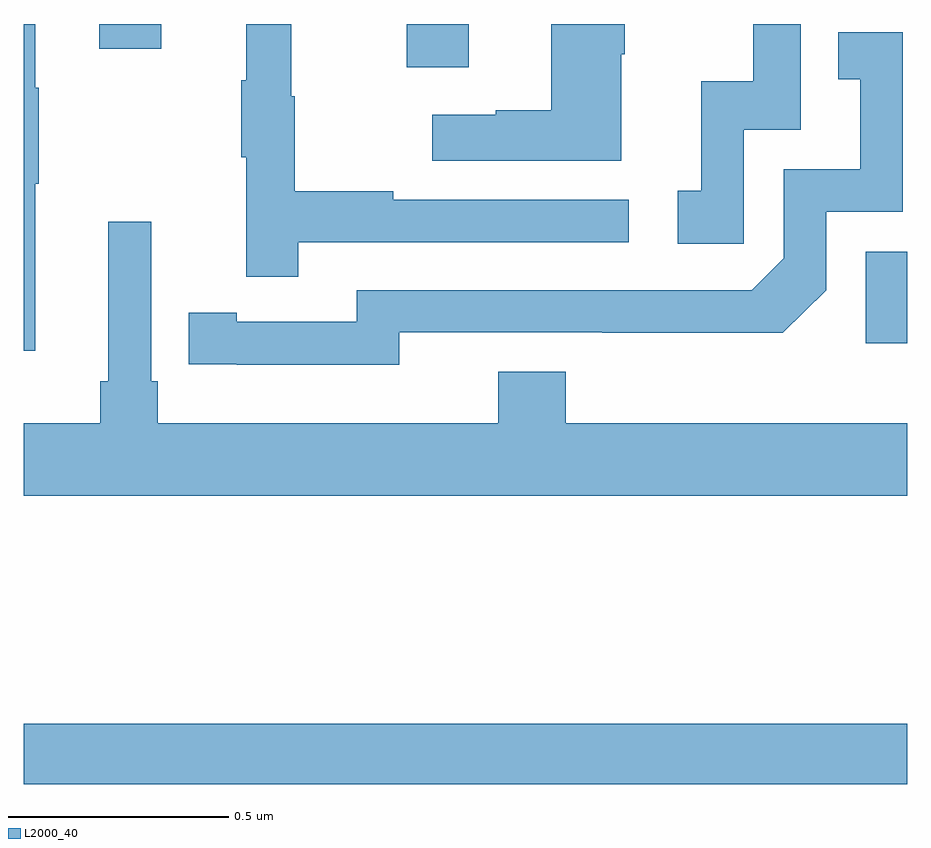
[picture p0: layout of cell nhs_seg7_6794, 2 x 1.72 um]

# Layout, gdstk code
import gdstk
lib = gdstk.Library(unit=1e-6, precision=1e-09)
def R(c, l, rs):  # rectangles x0, y0, x1, y1
    for r in rs: c.add(gdstk.rectangle(r[:2], r[2:], *l))
def P(c, l, *ps):  # polygons
    for p in ps: c.add(gdstk.Polygon(p, *l))
L2000_40 = (2000, 40)

nhs_seg7_6794 = lib.new_cell('nhs_seg7_6794')
R(nhs_seg7_6794, L2000_40, [(203,1017.28,205,1017.416), (204.906,1018.278,205,1018.485), (203.867,1018.902,204.007,1019), (203.171,1018.944,203.311,1019)])
P(nhs_seg7_6794, L2000_40, [(204.63,1018.761),(204.759,1018.761),(204.759,1019),(204.651,1019),(204.651,1018.87),(204.533,1018.87),(204.533,1018.623),(204.48,1018.623),(204.48,1018.503),(204.63,1018.503)],
  [(203.026,1018.639),(203.034,1018.639),(203.034,1018.856),(203.026,1018.856),(203.026,1019),(203,1019),(203,1018.26),(203.026,1018.26)],
  [(203.621,1018.506),(204.37,1018.506),(204.37,1018.602),(203.837,1018.602),(203.837,1018.622),(203.614,1018.622),(203.614,1018.836),(203.606,1018.836),(203.606,1019),(203.504,1019),(203.504,1018.873),(203.493,1018.873),(203.493,1018.699),(203.504,1018.699),(203.504,1018.428),(203.621,1018.428)],
  [(204.352,1018.931),(204.36,1018.931),(204.36,1019),(204.194,1019),(204.194,1018.805),(204.068,1018.805),(204.068,1018.795),(203.925,1018.795),(203.925,1018.691),(204.352,1018.691)],
  [(203.85,1018.302),(204.31,1018.302),(204.31,1018.301),(204.718,1018.301),(204.816,1018.398),(204.816,1018.575),(204.99,1018.575),(204.99,1018.981),(204.844,1018.981),(204.844,1018.875),(204.893,1018.875),(204.893,1018.671),(204.72,1018.671),(204.72,1018.47),(204.648,1018.398),(203.754,1018.398),(203.754,1018.326),(203.482,1018.326),(203.482,1018.346),(203.374,1018.346),(203.374,1018.23),(203.482,1018.23),(203.482,1018.229),(203.85,1018.229)],
  [(205,1018.096),(204.227,1018.096),(204.227,1018.213),(204.074,1018.213),(204.074,1018.096),(203.303,1018.096),(203.303,1018.192),(203.289,1018.192),(203.289,1018.552),(203.192,1018.552),(203.192,1018.192),(203.173,1018.192),(203.173,1018.096),(203,1018.096),(203,1017.932),(205,1017.932)])

lib.write_gds('nhs_seg7_6794.gds')
